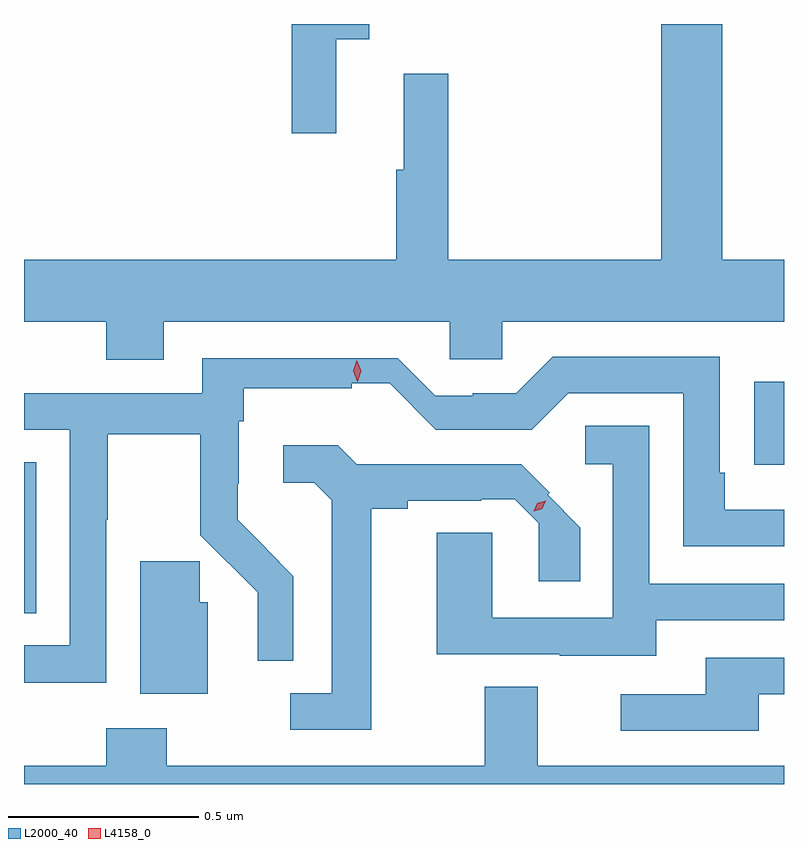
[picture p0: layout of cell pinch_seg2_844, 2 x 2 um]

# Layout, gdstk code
import gdstk
lib = gdstk.Library(unit=1e-6, precision=1e-09)
def R(c, l, rs):  # rectangles x0, y0, x1, y1
    for r in rs: c.add(gdstk.rectangle(r[:2], r[2:], *l))
def P(c, l, *ps):  # polygons
    for p in ps: c.add(gdstk.Polygon(p, *l))
L2000_40 = (2000, 40)
L4158_0 = (4158, 0)

pinch_seg2_844 = lib.new_cell('pinch_seg2_844')
R(pinch_seg2_844, L2000_40, [(747.323,593.59,747.355,593.987), (749.245,593.98,749.323,594.199)])
P(pinch_seg2_844, L2000_40, [(747.691,594.356),(748.443,594.356),(748.443,594.258),(748.581,594.258),(748.581,594.356),(749.323,594.356),(749.323,594.52),(749.16,594.52),(749.16,595.14),(749,595.14),(749,594.52),(748.439,594.52),(748.439,595.009),(748.322,595.009),(748.322,594.756),(748.303,594.756),(748.303,594.52),(747.323,594.52),(747.323,594.356),(747.539,594.356),(747.539,594.257),(747.691,594.257)],
  [(748.145,595.1),(748.231,595.1),(748.231,595.14),(748.027,595.14),(748.027,594.852),(748.145,594.852)],
  [(747.54,593.836),(747.543,593.836),(747.543,594.06),(747.787,594.06),(747.787,593.795),(747.938,593.645),(747.938,593.464),(748.032,593.464),(748.032,593.687),(747.959,593.76),(747.96,593.761),(747.886,593.835),(747.886,593.93),(747.888,593.93),(747.888,594.094),(747.901,594.094),(747.901,594.181),(748.185,594.181),(748.185,594.194),(748.285,594.194),(748.407,594.072),(748.659,594.072),(748.755,594.168),(749.058,594.168),(749.058,593.766),(749.323,593.766),(749.323,593.862),(749.167,593.862),(749.167,593.959),(749.154,593.959),(749.154,594.264),(748.715,594.264),(748.619,594.168),(748.504,594.168),(748.504,594.162),(748.405,594.162),(748.306,594.261),(747.792,594.261),(747.792,594.168),(747.323,594.168),(747.323,594.072),(747.444,594.072),(747.444,593.505),(747.323,593.505),(747.323,593.407),(747.54,593.407)],
  [(748.987,593.571),(749.323,593.571),(749.323,593.667),(748.968,593.667),(748.968,594.083),(748.8,594.083),(748.8,593.982),(748.872,593.982),(748.872,593.577),(748.555,593.577),(748.555,593.801),(748.409,593.801),(748.409,593.481),(748.733,593.481),(748.733,593.477),(748.987,593.477)],
  [(748.237,593.864),(748.333,593.864),(748.333,593.886),(748.526,593.886),(748.526,593.889),(748.614,593.889),(748.677,593.826),(748.677,593.673),(748.787,593.673),(748.787,593.814),(748.701,593.901),(748.707,593.907),(748.631,593.982),(748.294,593.982),(748.294,593.981),(748.198,593.981),(748.148,594.031),(748.005,594.031),(748.005,593.933),(748.087,593.933),(748.133,593.887),(748.133,593.379),(748.023,593.379),(748.023,593.283),(748.237,593.283)],
  [(747.807,593.618),(747.786,593.618),(747.786,593.726),(747.629,593.726),(747.629,593.378),(747.807,593.378)],
  [(749.257,593.376),(749.323,593.376),(749.323,593.472),(749.117,593.472),(749.117,593.376),(748.893,593.376),(748.893,593.28),(749.257,593.28)],
  [(749.323,593.188),(748.675,593.188),(748.675,593.396),(748.535,593.396),(748.535,593.188),(747.699,593.188),(747.699,593.287),(747.539,593.287),(747.539,593.188),(747.323,593.188),(747.323,593.14),(749.323,593.14)])
P(pinch_seg2_844, L4158_0, [(748.665,593.858),(748.665,593.858),(748.674,593.879),(748.696,593.885),(748.696,593.885),(748.696,593.885),(748.687,593.864),(748.666,593.858)],
  [(748.201,594.199),(748.2,594.2),(748.19,594.227),(748.199,594.255),(748.199,594.255),(748.199,594.255),(748.21,594.228),(748.201,594.2)])

lib.write_gds('pinch_seg2_844.gds')
